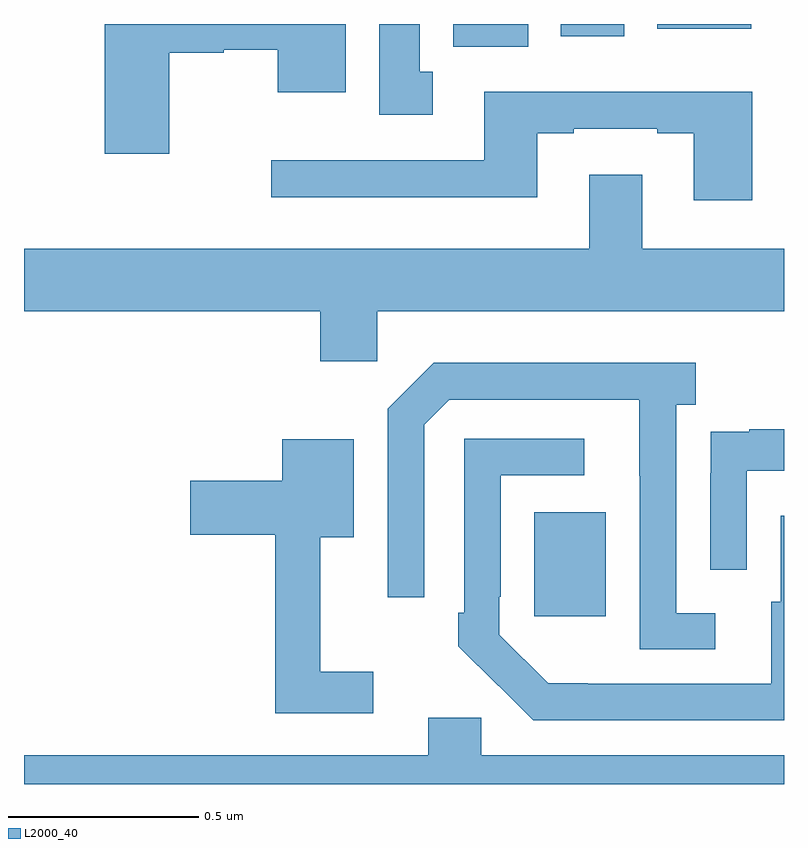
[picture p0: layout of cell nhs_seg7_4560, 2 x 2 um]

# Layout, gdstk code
import gdstk
lib = gdstk.Library(unit=1e-6, precision=1e-09)
def R(c, l, rs):  # rectangles x0, y0, x1, y1
    for r in rs: c.add(gdstk.rectangle(r[:2], r[2:], *l))
def P(c, l, *ps):  # polygons
    for p in ps: c.add(gdstk.Polygon(p, *l))
L2000_40 = (2000, 40)

nhs_seg7_4560 = lib.new_cell('nhs_seg7_4560')
R(nhs_seg7_4560, L2000_40, [(175.343,1038.441,175.531,1038.715), (175.13,1039.94,175.327,1040), (175.412,1039.968,175.579,1040), (175.667,1039.988,175.914,1040)])
P(nhs_seg7_4560, L2000_40, [(175.075,1039.874),(175.042,1039.874),(175.042,1040),(174.935,1040),(174.935,1039.761),(175.075,1039.761)],
  [(174.382,1039.924),(174.525,1039.924),(174.525,1039.932),(174.668,1039.932),(174.668,1039.82),(174.847,1039.82),(174.847,1040),(174.212,1040),(174.212,1039.659),(174.382,1039.659)],
  [(175.916,1039.822),(175.211,1039.822),(175.211,1039.641),(174.651,1039.641),(174.651,1039.544),(175.351,1039.544),(175.351,1039.713),(175.447,1039.713),(175.447,1039.725),(175.667,1039.725),(175.667,1039.713),(175.763,1039.713),(175.763,1039.536),(175.916,1039.536)],
  [(174.93,1039.244),(176,1039.244),(176,1039.408),(175.627,1039.408),(175.627,1039.603),(175.487,1039.603),(175.487,1039.408),(174,1039.408),(174,1039.244),(174.779,1039.244),(174.779,1039.113),(174.93,1039.113)],
  [(175.819,1038.45),(175.716,1038.45),(175.716,1038.998),(175.768,1038.998),(175.768,1039.108),(175.078,1039.108),(174.957,1038.987),(174.957,1038.492),(175.053,1038.492),(175.053,1038.945),(175.119,1039.011),(175.619,1039.011),(175.619,1038.811),(175.62,1038.811),(175.62,1038.354),(175.819,1038.354)],
  [(175.902,1038.825),(176,1038.825),(176,1038.934),(175.909,1038.934),(175.909,1038.927),(175.807,1038.927),(175.807,1038.818),(175.806,1038.818),(175.806,1038.564),(175.902,1038.564)],
  [(176,1038.706),(175.991,1038.706),(175.991,1038.48),(175.967,1038.48),(175.967,1038.264),(175.483,1038.264),(175.483,1038.265),(175.38,1038.265),(175.251,1038.393),(175.251,1038.493),(175.254,1038.493),(175.254,1038.813),(175.474,1038.813),(175.474,1038.909),(175.158,1038.909),(175.158,1038.451),(175.143,1038.451),(175.143,1038.363),(175.248,1038.258),(175.249,1038.259),(175.34,1038.168),(176,1038.168)],
  [(174.919,1038.295),(174.779,1038.295),(174.779,1038.65),(174.868,1038.65),(174.868,1038.907),(174.68,1038.907),(174.68,1038.798),(174.438,1038.798),(174.438,1038.656),(174.661,1038.656),(174.661,1038.186),(174.919,1038.186)],
  [(176,1038.076),(175.203,1038.076),(175.203,1038.174),(175.064,1038.174),(175.064,1038.076),(174,1038.076),(174,1038),(176,1038)])

lib.write_gds('nhs_seg7_4560.gds')
